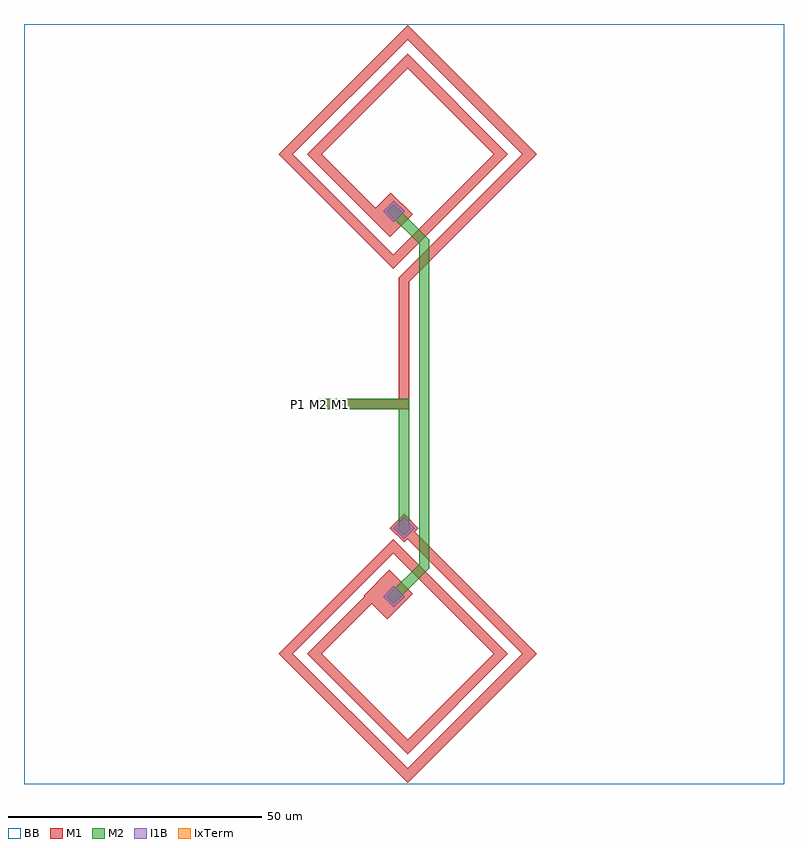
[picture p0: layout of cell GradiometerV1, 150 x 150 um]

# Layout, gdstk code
from math import pi, radians
import gdstk
lib = gdstk.Library(unit=1e-6, precision=1e-09)
def R(c, l, rs):  # rectangles x0, y0, x1, y1
    for r in rs: c.add(gdstk.rectangle(r[:2], r[2:], *l))
def P(c, l, *ps):  # polygons
    for p in ps: c.add(gdstk.Polygon(p, *l))
M1 = (1, 0)
BB = (1, 3)
I1B = (3, 0)
M2 = (6, 0)
IxTerm = (63, 0)

squarespiral = lib.new_cell('SquareSpiral')
squarespiral.add(gdstk.FlexPath([(-10,13),(12,13),(12,-13),(-14,-13),(-14,17),(16,17),(16,-17),(-18,-17),(-18,18)], 2, ends="flush", simple_path=True, layer=1, datatype=0))  # M1

squarespiral_1 = lib.new_cell('SquareSpiral$1')
squarespiral_1.add(gdstk.FlexPath([(-10,13),(12,13),(12,-13),(-14,-13),(-14,17),(16,17),(16,-17),(-18,-17),(-18,18)], 2, ends="flush", simple_path=True, layer=1, datatype=0))  # M1

via_m2_m1 = lib.new_cell('Via$M2-M1')
R(via_m2_m1, M1, [(-2,-2,2,2)])
R(via_m2_m1, I1B, [(-1.5,-1.5,1.5,1.5)])
R(via_m2_m1, M2, [(-1,-1,1,1)])

gradiometerv1 = lib.new_cell('GradiometerV1')
P(gradiometerv1, M1, [(-3.323,-42.487),(-7.987,-37.823),(-2.927,-32.763),(1.737,-37.427)],
  [(-2.677,33.013),(-6.987,37.323),(-2.573,41.737),(1.737,37.427)])
R(gradiometerv1, BB, [(-75,-75,75,75)])
gradiometerv1.add(gdstk.FlexPath([(-2,-38),(4,-32),(4,3)], 2, ends="flush", simple_path=True, layer=6, datatype=0))  # M2
gradiometerv1.add(gdstk.FlexPath([(-2,38),(4,32),(4,3)], 2, ends="flush", simple_path=True, layer=6, datatype=0))  # M2
gradiometerv1.add(gdstk.FlexPath([(0,-24.544),(0,0),(-16.5,0)], 2, ends="flush", simple_path=True, layer=6, datatype=0))  # M2
gradiometerv1.add(gdstk.FlexPath([(2.956,27.5),(0,24.544),(0,0),(-16.5,0)], 2, ends="flush", simple_path=True, layer=1, datatype=0))  # M1
gradiometerv1.add(gdstk.FlexPath([(-16.5,1),(-16.5,-1)], 0.5, ends="flush", simple_path=True, layer=63, datatype=0))  # IxTerm
gradiometerv1.add(gdstk.Reference(squarespiral, (0,50), rotation=radians(135)))
gradiometerv1.add(gdstk.Reference(squarespiral_1, (0,-50), rotation=radians(225), x_reflection=True))
gradiometerv1.add(gdstk.Reference(via_m2_m1, (0,-24.5), rotation=radians(45)))
gradiometerv1.add(gdstk.Reference(via_m2_m1, (-2,38), rotation=radians(45)))
gradiometerv1.add(gdstk.Reference(via_m2_m1, (-2,-38), rotation=radians(45)))
gradiometerv1.add(gdstk.Label('P1 M2 M1', (-16.5,0), layer=64, texttype=0))

lib.write_gds('GradiometerV1.gds')
